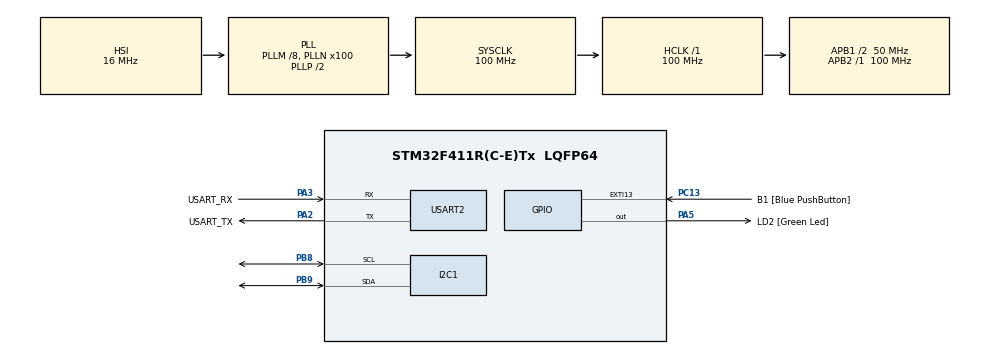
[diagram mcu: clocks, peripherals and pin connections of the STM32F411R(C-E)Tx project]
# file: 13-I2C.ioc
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Dma.I2C1_RX.0.Direction=DMA_PERIPH_TO_MEMORY
Dma.I2C1_RX.0.FIFOMode=DMA_FIFOMODE_DISABLE
Dma.I2C1_RX.0.Instance=DMA1_Stream0
Dma.I2C1_RX.0.MemDataAlignment=DMA_MDATAALIGN_BYTE
Dma.I2C1_RX.0.MemInc=DMA_MINC_ENABLE
Dma.I2C1_RX.0.Mode=DMA_NORMAL
Dma.I2C1_RX.0.PeriphDataAlignment=DMA_PDATAALIGN_BYTE
Dma.I2C1_RX.0.PeriphInc=DMA_PINC_DISABLE
Dma.I2C1_RX.0.Priority=DMA_PRIORITY_LOW
Dma.I2C1_TX.1.Direction=DMA_MEMORY_TO_PERIPH
Dma.I2C1_TX.1.FIFOMode=DMA_FIFOMODE_DISABLE
Dma.I2C1_TX.1.Instance=DMA1_Stream1
Dma.I2C1_TX.1.MemDataAlignment=DMA_MDATAALIGN_BYTE
Dma.I2C1_TX.1.MemInc=DMA_MINC_ENABLE
Dma.I2C1_TX.1.Mode=DMA_NORMAL
Dma.I2C1_TX.1.PeriphDataAlignment=DMA_PDATAALIGN_BYTE
Dma.I2C1_TX.1.PeriphInc=DMA_PINC_DISABLE
Dma.I2C1_TX.1.Priority=DMA_PRIORITY_LOW
Dma.Request0=I2C1_RX
Dma.Request1=I2C1_TX
I2C1.AddressingMode=I2C_ADDRESSINGMODE_7BIT
I2C1.DutyCycle=I2C_DUTYCYCLE_2
I2C1.I2C_Mode=I2C_Fast
Mcu.Family=STM32F4
Mcu.Name=STM32F411R(C-E)Tx
Mcu.Package=LQFP64
NVIC.DMA1_Stream0_IRQn=true\:0\:0\:false\:false\:true\:false\:true\:true
NVIC.DMA1_Stream1_IRQn=true\:0\:0\:false\:false\:true\:false\:true\:true
NVIC.I2C1_ER_IRQn=true\:0\:0\:false\:false\:true\:true\:true\:true
NVIC.I2C1_EV_IRQn=true\:0\:0\:false\:false\:true\:true\:true\:true
NVIC.PriorityGroup=NVIC_PRIORITYGROUP_0
PA13.GPIO_Label=TMS
PA13.Mode=Serial_Wire
PA13.Signal=SYS_JTMS-SWDIO
PA14.GPIO_Label=TCK
PA14.Mode=Serial_Wire
PA14.Signal=SYS_JTCK-SWCLK
PA2.GPIO_Label=USART_TX
PA2.Mode=Asynchronous
PA2.Signal=USART2_TX
PA3.GPIO_Label=USART_RX
PA3.Mode=Asynchronous
PA3.Signal=USART2_RX
PA5.GPIO_Label=LD2 [Green Led]
PA5.Signal=GPIO_Output
PB3.GPIO_Label=SWO
PB3.Signal=SYS_JTDO-SWO
PB8.GPIO_Pu=GPIO_PULLUP
PB8.Mode=I2C
PB8.Signal=I2C1_SCL
PB9.GPIO_Pu=GPIO_PULLUP
PB9.Mode=I2C
PB9.Signal=I2C1_SDA
PC13-ANTI_TAMP.GPIO_Label=B1 [Blue PushButton]
PC13-ANTI_TAMP.GPIO_ModeDefaultEXTI=GPIO_MODE_IT_FALLING
PC13-ANTI_TAMP.Signal=GPXTI13
PC14-OSC32_IN.Mode=LSE-External-Oscillator
PC14-OSC32_IN.Signal=RCC_OSC32_IN
PC15-OSC32_OUT.Mode=LSE-External-Oscillator
PC15-OSC32_OUT.Signal=RCC_OSC32_OUT
PH0\ -\ OSC_IN.Mode=HSE-External-Clock-Source
PH0\ -\ OSC_IN.Signal=RCC_OSC_IN
PH1\ -\ OSC_OUT.Mode=HSE-External-Clock-Source
PH1\ -\ OSC_OUT.Signal=RCC_OSC_OUT
ProjectManager.HeapSize=0x200
ProjectManager.StackSize=0x400
ProjectManager.TargetToolchain=STM32CubeIDE
RCC.48MHZClocksFreq_Value=50000000
RCC.AHBFreq_Value=100000000
RCC.APB1CLKDivider=RCC_HCLK_DIV2
RCC.APB1Freq_Value=50000000
RCC.APB1TimFreq_Value=100000000
RCC.APB2Freq_Value=100000000
RCC.APB2TimFreq_Value=100000000
RCC.CortexFreq_Value=100000000
RCC.FLatency-AdvancedSettings=FLASH_LATENCY_3
RCC.HCLKFreq_Value=100000000
RCC.HSE_VALUE=8000000
RCC.HSI_VALUE=16000000
RCC.PLLM=8
RCC.PLLN=100
RCC.SYSCLKFreq_VALUE=100000000
RCC.SYSCLKSource=RCC_SYSCLKSOURCE_PLLCLK
RCC.VCOOutputFreq_Value=200000000
USART2.VirtualMode=VM_ASYNC
board=NUCLEO-F411RE

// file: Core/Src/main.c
/* USER CODE BEGIN Header */
/**
 ******************************************************************************
 * @file           : main.c
 * @brief          : Main program body
 ******************************************************************************
 * @attention
 *
 * <h2><center>&copy; Copyright (c) 2021 STMicroelectronics.
 * All rights reserved.</center></h2>
 *
 * This software component is licensed by ST under BSD 3-Clause license,
 * the "License"; You may not use this file except in compliance with the
 * License. You may obtain a copy of the License at:
 *                        opensource.org/licenses/BSD-3-Clause
 *
 ******************************************************************************
 */
/* USER CODE END Header */
#include "main.h"

/* USER CODE BEGIN PD */
#define EEPROM_ADDR 0b10100000
/* USER CODE END PD */

I2C_HandleTypeDef hi2c1;
DMA_HandleTypeDef hdma_i2c1_rx;
DMA_HandleTypeDef hdma_i2c1_tx;

UART_HandleTypeDef huart2;

/* USER CODE BEGIN PV */
uint8_t eepromExampleWriteFlag = 0;
uint8_t eepromExampleReadFlag = 0;
uint8_t eepromDataReadBack[4];

/* USER CODE END PV */

void SystemClock_Config(void);
static void MX_GPIO_Init(void);
static void MX_DMA_Init(void);
static void MX_USART2_UART_Init(void);
static void MX_I2C1_Init(void);
/* USER CODE BEGIN PFP */
void EEPROMWriteExample();
void EEPROMReadExample(uint8_t *Rdata, uint16_t len);

/* USER CODE END PFP */

int main(void)
{

  /* MCU Configuration--------------------------------------------------------*/

  /* Reset of all peripherals, Initializes the Flash interface and the Systick. */
  HAL_Init();

  /* Configure the system clock */
  SystemClock_Config();

  /* Initialize all configured peripherals */
  MX_GPIO_Init();
  MX_DMA_Init();
  MX_USART2_UART_Init();
  MX_I2C1_Init();
  /* USER CODE BEGIN 2 */
  HAL_Delay(100);
  /* USER CODE END 2 */

  /* Infinite loop */
  /* USER CODE BEGIN WHILE */
	while (1) {
		EEPROMWriteExample();
		EEPROMReadExample(eepromDataReadBack, 4);

    /* USER CODE END WHILE */

	}
}

void SystemClock_Config(void)
{
  RCC_OscInitTypeDef RCC_OscInitStruct = {0};
  RCC_ClkInitTypeDef RCC_ClkInitStruct = {0};

  /** Configure the main internal regulator output voltage
  */
  __HAL_RCC_PWR_CLK_ENABLE();
  __HAL_PWR_VOLTAGESCALING_CONFIG(PWR_REGULATOR_VOLTAGE_SCALE1);

  /** Initializes the RCC Oscillators according to the specified parameters
  * in the RCC_OscInitTypeDef structure.
  */
  RCC_OscInitStruct.OscillatorType = RCC_OSCILLATORTYPE_HSI;
  RCC_OscInitStruct.HSIState = RCC_HSI_ON;
  RCC_OscInitStruct.HSICalibrationValue = RCC_HSICALIBRATION_DEFAULT;
  RCC_OscInitStruct.PLL.PLLState = RCC_PLL_ON;
  RCC_OscInitStruct.PLL.PLLSource = RCC_PLLSOURCE_HSI;
  RCC_OscInitStruct.PLL.PLLM = 8;
  RCC_OscInitStruct.PLL.PLLN = 100;
  RCC_OscInitStruct.PLL.PLLP = RCC_PLLP_DIV2;
  RCC_OscInitStruct.PLL.PLLQ = 4;
  if (HAL_RCC_OscConfig(&RCC_OscInitStruct) != HAL_OK)
  {
    Error_Handler();
  }

  /** Initializes the CPU, AHB and APB buses clocks
  */
  RCC_ClkInitStruct.ClockType = RCC_CLOCKTYPE_HCLK|RCC_CLOCKTYPE_SYSCLK
                              |RCC_CLOCKTYPE_PCLK1|RCC_CLOCKTYPE_PCLK2;
  RCC_ClkInitStruct.SYSCLKSource = RCC_SYSCLKSOURCE_PLLCLK;
  RCC_ClkInitStruct.AHBCLKDivider = RCC_SYSCLK_DIV1;
  RCC_ClkInitStruct.APB1CLKDivider = RCC_HCLK_DIV2;
  RCC_ClkInitStruct.APB2CLKDivider = RCC_HCLK_DIV1;

  if (HAL_RCC_ClockConfig(&RCC_ClkInitStruct, FLASH_LATENCY_3) != HAL_OK)
  {
    Error_Handler();
  }
}

static void MX_I2C1_Init(void)
{

  hi2c1.Instance = I2C1;
  hi2c1.Init.ClockSpeed = 400000;
  hi2c1.Init.DutyCycle = I2C_DUTYCYCLE_2;
  hi2c1.Init.OwnAddress1 = 0;
  hi2c1.Init.AddressingMode = I2C_ADDRESSINGMODE_7BIT;
  hi2c1.Init.DualAddressMode = I2C_DUALADDRESS_DISABLE;
  hi2c1.Init.OwnAddress2 = 0;
  hi2c1.Init.GeneralCallMode = I2C_GENERALCALL_DISABLE;
  hi2c1.Init.NoStretchMode = I2C_NOSTRETCH_DISABLE;
  if (HAL_I2C_Init(&hi2c1) != HAL_OK)
  {
    Error_Handler();
  }

}

static void MX_USART2_UART_Init(void)
{

  huart2.Instance = USART2;
  huart2.Init.BaudRate = 115200;
  huart2.Init.WordLength = UART_WORDLENGTH_8B;
  huart2.Init.StopBits = UART_STOPBITS_1;
  huart2.Init.Parity = UART_PARITY_NONE;
  huart2.Init.Mode = UART_MODE_TX_RX;
  huart2.Init.HwFlowCtl = UART_HWCONTROL_NONE;
  huart2.Init.OverSampling = UART_OVERSAMPLING_16;
  if (HAL_UART_Init(&huart2) != HAL_OK)
  {
    Error_Handler();
  }

}

static void MX_DMA_Init(void)
{

  /* DMA controller clock enable */
  __HAL_RCC_DMA1_CLK_ENABLE();

  /* DMA interrupt init */
  /* DMA1_Stream0_IRQn interrupt configuration */
  HAL_NVIC_SetPriority(DMA1_Stream0_IRQn, 0, 0);
  HAL_NVIC_EnableIRQ(DMA1_Stream0_IRQn);
  /* DMA1_Stream1_IRQn interrupt configuration */
  HAL_NVIC_SetPriority(DMA1_Stream1_IRQn, 0, 0);
  HAL_NVIC_EnableIRQ(DMA1_Stream1_IRQn);

}

static void MX_GPIO_Init(void)
{
  GPIO_InitTypeDef GPIO_InitStruct = {0};

  /* GPIO Ports Clock Enable */
  __HAL_RCC_GPIOC_CLK_ENABLE();
  __HAL_RCC_GPIOH_CLK_ENABLE();
  __HAL_RCC_GPIOA_CLK_ENABLE();
  __HAL_RCC_GPIOB_CLK_ENABLE();

  /*Configure GPIO pin Output Level */
  HAL_GPIO_WritePin(LD2_GPIO_Port, LD2_Pin, GPIO_PIN_RESET);

  /*Configure GPIO pin : B1_Pin */
  GPIO_InitStruct.Pin = B1_Pin;
  GPIO_InitStruct.Mode = GPIO_MODE_IT_FALLING;
  GPIO_InitStruct.Pull = GPIO_NOPULL;
  HAL_GPIO_Init(B1_GPIO_Port, &GPIO_InitStruct);

  /*Configure GPIO pin : LD2_Pin */
  GPIO_InitStruct.Pin = LD2_Pin;
  GPIO_InitStruct.Mode = GPIO_MODE_OUTPUT_PP;
  GPIO_InitStruct.Pull = GPIO_NOPULL;
  GPIO_InitStruct.Speed = GPIO_SPEED_FREQ_LOW;
  HAL_GPIO_Init(LD2_GPIO_Port, &GPIO_InitStruct);

}

/* USER CODE BEGIN 4 */
void EEPROMWriteExample() {
	if (eepromExampleWriteFlag && hi2c1.State == HAL_I2C_STATE_READY) {

		static uint8_t data[4] = { 0xff, 0x00, 0x55, 0xaa };
		HAL_I2C_Mem_Write_IT(&hi2c1, EEPROM_ADDR, 0x2C, I2C_MEMADD_SIZE_16BIT,
				data, 4);

		eepromExampleWriteFlag = 0;
	}
}
void EEPROMReadExample(uint8_t *Rdata, uint16_t len) {
	if (eepromExampleReadFlag && hi2c1.State == HAL_I2C_STATE_READY) {

		HAL_I2C_Mem_Read_IT(&hi2c1, EEPROM_ADDR, 0x2c, I2C_MEMADD_SIZE_16BIT,
				Rdata, len);
		eepromExampleReadFlag = 0;
	}
}
void ReadEEPROMSeq(uint16_t MemAddr,uint8_t *Rdata,uint16_t len,uint8_t *Trigger)
{
	static enum
	{
		State_Idle,
		State_address_frame,
		State_dataFrame,
	} State = State_Idle;
	if(hi2c1.State == HAL_I2C_STATE_READY)
	{
		switch(State)
		{
		case State_Idle:
			if(*Trigger)
			{
				State = State_address_frame;
			}
			break;
		case State_address_frame:
		{
			static uint8_t MemoryAddress[2];
			MemoryAddress[0] = (MemAddr>>8) & 0xFF;
			MemoryAddress[1] = (MemAddr) & 0xFF;
			HAL_I2C_Master_Seq_Transmit_IT(&hi2c1, EEPROM_ADDR, MemoryAddress, 2, I2C_FIRST_AND_NEXT_FRAME);
			State = State_dataFrame;
		}

		break;

		case State_dataFrame:
			HAL_I2C_Master_Seq_Receive_IT(&hi2c1, EEPROM_ADDR, Rdata, len, I2C_LAST_FRAME);

			State = State_Idle;

			break;

		}
	}

}
/* USER CODE END 4 */

void Error_Handler(void)
{
	__disable_irq();
	while (1) {
	}
}
